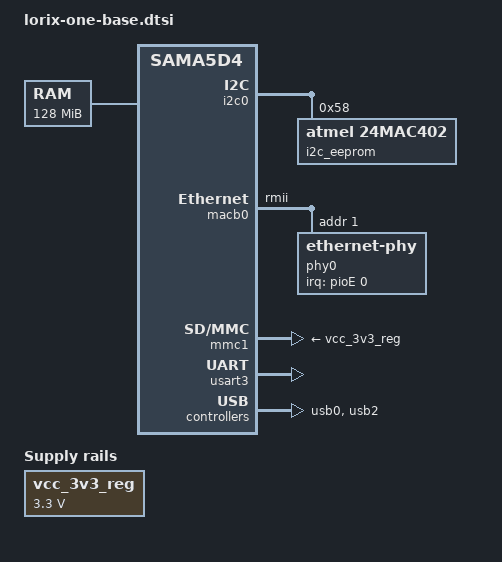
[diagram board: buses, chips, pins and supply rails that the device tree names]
/*
 * lorix-one-base.dtsi
 *  Device Tree file for the LORIX One (generic) LoRa gateway from
 *  Wifx Sàrl
 *
 *  Copyright (C) 2018 Wifx,
 *                2018 Yannick Lanz <yannick.lanz@wifx.net>
 *
 * This file is dual-licensed: you can use it either under the terms
 * of the GPL or the X11 license, at your option. Note that this dual
 * licensing only applies to this file, and not this project as a
 * whole.
 *
 *  a) This file is free software; you can redistribute it and/or
 *     modify it under the terms of the GNU General Public License as
 *     published by the Free Software Foundation; either version 2 of the
 *     License, or (at your option) any later version.
 *
 *     This file is distributed in the hope that it will be useful,
 *     but WITHOUT ANY WARRANTY; without even the implied warranty of
 *     MERCHANTABILITY or FITNESS FOR A PARTICULAR PURPOSE.  See the
 *     GNU General Public License for more details.
 *
 * Or, alternatively,
 *
 *  b) Permission is hereby granted, free of charge, to any person
 *     obtaining a copy of this software and associated documentation
 *     files (the "Software"), to deal in the Software without
 *     restriction, including without limitation the rights to use,
 *     copy, modify, merge, publish, distribute, sublicense, and/or
 *     sell copies of the Software, and to permit persons to whom the
 *     Software is furnished to do so, subject to the following
 *     conditions:
 *
 *     The above copyright notice and this permission notice shall be
 *     included in all copies or substantial portions of the Software.
 *
 *     THE SOFTWARE IS PROVIDED "AS IS", WITHOUT WARRANTY OF ANY KIND,
 *     EXPRESS OR IMPLIED, INCLUDING BUT NOT LIMITED TO THE WARRANTIES
 *     OF MERCHANTABILITY, FITNESS FOR A PARTICULAR PURPOSE AND
 *     NONINFRINGEMENT. IN NO EVENT SHALL THE AUTHORS OR COPYRIGHT
 *     HOLDERS BE LIABLE FOR ANY CLAIM, DAMAGES OR OTHER LIABILITY,
 *     WHETHER IN AN ACTION OF CONTRACT, TORT OR OTHERWISE, ARISING
 *     FROM, OUT OF OR IN CONNECTION WITH THE SOFTWARE OR THE USE OR
 *     OTHER DEALINGS IN THE SOFTWARE.
 */
#include "sama5d4.dtsi"
/ {
	compatible = "atmel,sama5d4", "atmel,sama5";

	aliases {
	};

	chosen {
		u-boot,dm-pre-reloc;
		stdout-path = &usart3;
	};

	memory {
		reg = <0x20000000 0x08000000>;
	};

	clocks {
		slow_xtal {
			clock-frequency = <32768>;
		};

		main_xtal {
			clock-frequency = <12000000>;
		};
	};

	ahb {
		apb {
			i2c0: i2c@f8014000 {
				status = "okay";

				i2c_eeprom: i2c_eeprom@58 {
					compatible = "atmel,24mac402";
					reg = <0x58>;
				};
			};

			macb0: ethernet@f8020000 {
				phy-mode = "rmii";
				status = "okay";
				pinctrl-names = "default";
				pinctrl-0 = <&pinctrl_macb0_rmii &pinctrl_macb0_phy_irq>;

				phy0: ethernet-phy@1 {
					interrupt-parent = <&pioE>;
					interrupts = <0 IRQ_TYPE_LEVEL_LOW>;
					reg = <1>;
				};
			};

			mmc1: mmc@fc000000 {
				u-boot,dm-pre-reloc;
				pinctrl-names = "default";
				pinctrl-0 = <&pinctrl_mmc1_clk_cmd_dat0 &pinctrl_mmc1_dat1_3 &pinctrl_mmc1_cd>;
				vmmc-supply = <&vcc_3v3_reg>;
				vqmmc-supply = <&vcc_3v3_reg>;
				status = "okay";
				slot@0 {
					reg = <0>;
					bus-width = <4>;
					cd-gpios = <&pioE 3 0>;
				};
			};

			usart3: serial@fc00c000 {
				u-boot,dm-pre-reloc;
				status = "okay";
			};

			watchdog@fc068640 {
				status = "okay";
			};

			pinctrl@fc06a000 {
				board {
					u-boot,dm-pre-reloc;
					pinctrl_mmc1_cd: mmc1_cd {
						u-boot,dm-pre-reloc;
						atmel,pins = <AT91_PIOE 3 AT91_PERIPH_GPIO AT91_PINCTRL_PULL_UP_DEGLITCH>;
					};
					pinctrl_usba_vbus: usba_vbus {
						atmel,pins = <AT91_PIOE 31 AT91_PERIPH_GPIO AT91_PINCTRL_DEGLITCH>;
					};
					pinctrl_macb0_phy_irq: macb0_phy_irq_0 {
						atmel,pins = <AT91_PIOE 0 AT91_PERIPH_GPIO AT91_PINCTRL_PULL_UP_DEGLITCH>;
					};
				};
			};
		};

		usb0: gadget@00400000 {
			atmel,vbus-gpio = <&pioE 31 GPIO_ACTIVE_HIGH>;
			pinctrl-names = "default";
			pinctrl-0 = <&pinctrl_usba_vbus>;
			status = "okay";
		};

		usb2: ehci@00600000 {
			status = "okay";
		};
	};

	vcc_3v3_reg: fixedregulator@0 {
		compatible = "regulator-fixed";
		regulator-name = "VCC 3V3";
		regulator-min-microvolt = <3300000>;
		regulator-max-microvolt = <3300000>;
		regulator-boot-on;
		regulator-always-on;
		reg = <0 1>;
	};
};
